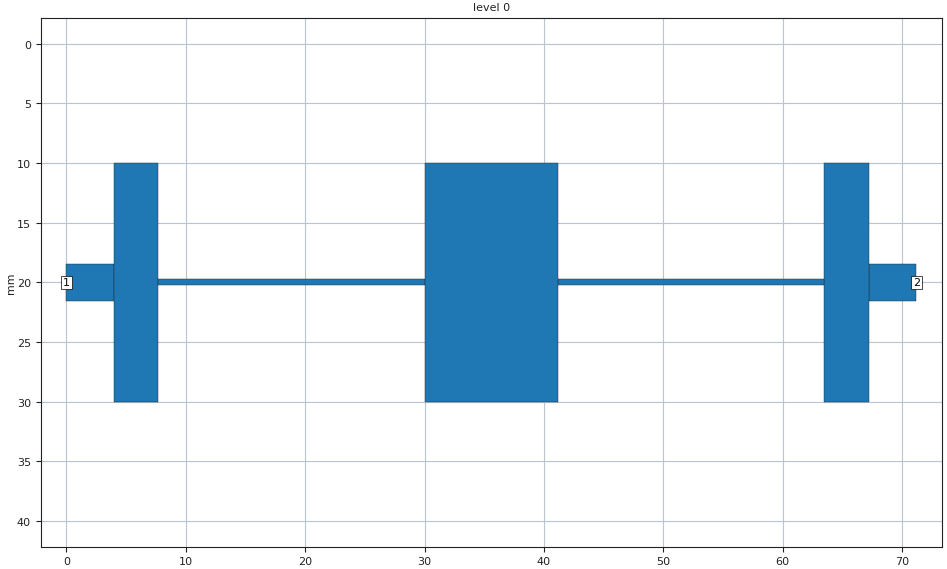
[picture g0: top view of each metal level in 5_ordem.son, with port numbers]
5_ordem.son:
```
FTYP SONPROJ 13 ! Sonnet Project File
VER 15.53.lite
HEADER
LIC SL290709.106431 847bebfebdba DESKTOP-1CMJ3DP Arihe
DAT 05/05/2019 18:26:41
BUILT_BY_CREATED xgeom 15.53-Lite 04/13/2019 20:59:13
BUILT_BY_SAVED xgeom 15.53-Lite
MDATE 05/05/2019 17:52:02
HDATE 05/05/2019 17:52:02
END HEADER
DIM
FREQ GHZ
RSVY OHMM
IND NH
LNG MM
ANG DEG
CON /OH
CAP PF
RES OH
END DIM
FREQ
ABS 1.0e-9 3.0 
END FREQ
CONTROL
ABS
OPTIONS  -dj 
SPEED 0
CACHE_ABS 1
TARG_ABS 300
Q_ACC N
END CONTROL
GEO
DRP1 LEFT LINK
POLY 12 1
1
DRP1 RIGHT LINK
POLY 14 1
0
TMET "Lossless" 0 SUP 0 0 0 0
BMET "Lossless" 0 SUP 0 0 0 0
MET "Copper" 1 NOR 58000000 0 0.0347 
BOX 1 71.2 40 1424 160 20 0
      20 1 1 0 0 0 0 "Air"
      1.5306 4.4 1 0.02 0 0 0 "FR-4"
LORGN 0 40 U 
POR1 STD
POLY 12 1
3
1 50 0 0 0 -1.484743677e-006 20 
POR1 STD
POLY 14 1
1
2 50 0 0 0 71.19999852 20 
NUM 7
0 5 0 N 12 1 1 100 100 0 0 0 Y
-1.484743677e-006 18.45
3.999998515 18.45
3.999998515 21.55
-1.484743677e-006 21.55
-1.484743677e-006 18.45
END
0 5 0 N 14 1 1 100 100 0 0 0 Y
67.19999852 18.45
71.19999852 18.45
71.19999852 21.55
67.19999852 21.55
67.19999852 18.45
END
0 5 0 N 26 1 1 100 100 0 0 0 Y
3.999997986 10
7.699997986 10
7.699997986 30
3.999997986 30
3.999997986 10
END
0 5 0 N 27 1 1 100 100 0 0 0 Y
63.49999799 10
67.19999799 10
67.19999799 30
63.49999799 30
63.49999799 10
END
0 5 0 N 41 1 1 100 100 0 0 0 Y
7.700000742 19.75
30.00000074 19.75
30.00000074 20.25
7.700000742 20.25
7.700000742 19.75
END
0 5 0 N 42 1 1 100 100 0 0 0 Y
41.20000074 19.75
63.50000074 19.75
63.50000074 20.25
41.20000074 20.25
41.20000074 19.75
END
0 5 0 N 45 1 1 100 100 0 0 0 Y
30.00000074 10
41.20000074 10
41.20000074 30
30.00000074 30
30.00000074 10
END
END GEO
OPT
MAX 100
VARS
END
END OPT
VARSWP
END VARSWP
FILEOUT
FOLDER "C:\Users\Arihe\Desktop\Simulacao Filtros\Chebyshev 3 ordem"
END FILEOUT
QSG
IMPORT NO
EXTRA_METAL NO
UNITS YES
ALIGN NO
REF NO
VIEW_RES NO
METALS YES
USED NO
END QSG
```
